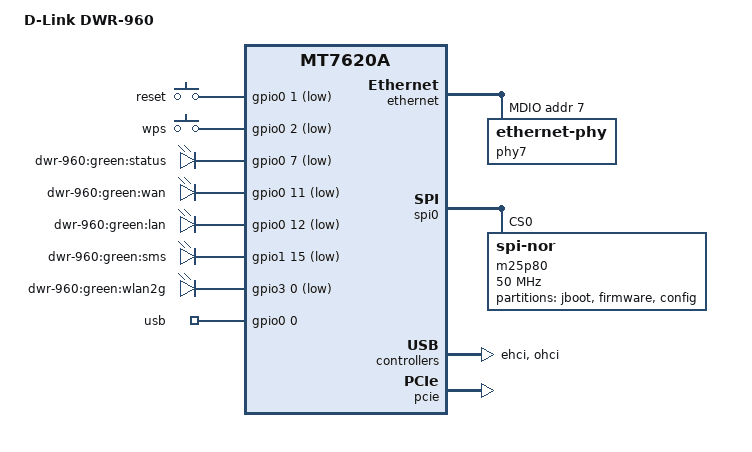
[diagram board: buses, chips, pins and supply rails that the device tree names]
/dts-v1/;

#include "mt7620a.dtsi"

#include <dt-bindings/input/input.h>
#include <dt-bindings/gpio/gpio.h>

/ {
	compatible = "dlink,dwr-960", "ralink,mt7620a-soc";
	model = "D-Link DWR-960";

	aliases {
		led-boot = &led_status;
		led-failsafe = &led_status;
		led-running = &led_status;
		led-upgrade = &led_status;
	};

	gpio-keys-polled {
		compatible = "gpio-keys-polled";
		#address-cells = <1>;
		#size-cells = <0>;
		poll-interval = <20>;

		reset {
			label = "reset";
			gpios = <&gpio0 1 GPIO_ACTIVE_LOW>;
			linux,code = <KEY_RESTART>;
		};

		wps {
			label = "wps";
			gpios = <&gpio0 2 GPIO_ACTIVE_LOW>;
			linux,code = <KEY_WPS_BUTTON>;
		};
	};

	gpio-leds {
		compatible = "gpio-leds";

		led_status: status {
			label = "dwr-960:green:status";
			gpios = <&gpio0 7 GPIO_ACTIVE_LOW>;
		};

		wan {
			label = "dwr-960:green:wan";
			gpios = <&gpio0 11 GPIO_ACTIVE_LOW>;
		};

		lan {
			label = "dwr-960:green:lan";
			gpios = <&gpio0 12 GPIO_ACTIVE_LOW>;
		};

		sms {
			label = "dwr-960:green:sms";
			gpios = <&gpio1 15 GPIO_ACTIVE_LOW>;
		};

		wlan2g {
			label = "dwr-960:green:wlan2g";
			gpios = <&gpio3 0 GPIO_ACTIVE_LOW>;
		};
	};

	gpio_export {
		compatible = "gpio-export";
		#size-cells = <0>;

		usb_power {
			gpio-export,name = "usb";
			gpio-export,output = <1>;
			gpios = <&gpio0 0 GPIO_ACTIVE_HIGH>;
		};
	};
};

&ethernet {
	status = "okay";
	pinctrl-names = "default";
	pinctrl-0 = <&rgmii2_pins &mdio_pins>;
	mediatek,portmap = "wllll";

	port@5 {
		status = "okay";
		phy-mode = "rgmii";
		phy-handle = <&phy7>;
	};

	mdio-bus {
		status = "okay";

		phy7: ethernet-phy@7 {
			reg = <7>;
			phy-mode = "rgmii";
		};

	};
};

&gpio1 {
	status = "okay";
};

&gpio3 {
	status = "okay";
};

&spi0 {
	status = "okay";

	m25p80@0 {
		#address-cells = <1>;
		#size-cells = <1>;
		compatible = "jedec,spi-nor";
		reg = <0>;
		spi-max-frequency = <50000000>;

		partition@0 {
			label = "jboot";
			reg = <0x0 0x10000>;
			read-only;
		};

		partition@10000 {
			label = "firmware";
			reg = <0x10000 0xfe0000>;
		};

		config: partition@ff0000 {
			label = "config";
			reg = <0xff0000 0x10000>;
			read-only;
		};
	};
};

&ehci {
	status = "okay";
};

&ohci {
	status = "okay";
};


&pcie {
	status = "okay";
};

&pcie0 {
	mt76x0e@0,0 {
		reg = <0x0000 0 0 0 0>;
		mtd-mac-address = <&config 0xe50e>;
		mtd-mac-address-increment = <(2)>;
		mediatek,mtd-eeprom = <&config 0xe08e>;
	};
};

&pinctrl {
	state_default: pinctrl0 {
		default {
			ralink,group = "i2c", "wled", "spi refclk", "uartf";
			ralink,function = "gpio";
		};
	};
};

